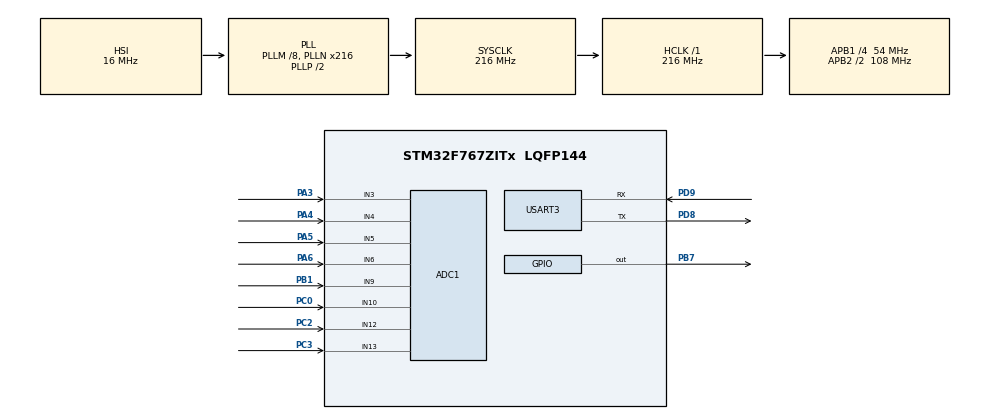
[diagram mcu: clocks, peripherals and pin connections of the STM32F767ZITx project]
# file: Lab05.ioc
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ADC1.Channel-0\#ChannelRegularConversion=ADC_CHANNEL_3
ADC1.Channel-1\#ChannelRegularConversion=ADC_CHANNEL_4
ADC1.Channel-2\#ChannelRegularConversion=ADC_CHANNEL_5
ADC1.Channel-3\#ChannelRegularConversion=ADC_CHANNEL_6
ADC1.Channel-4\#ChannelRegularConversion=ADC_CHANNEL_9
ADC1.Channel-5\#ChannelRegularConversion=ADC_CHANNEL_10
ADC1.Channel-6\#ChannelRegularConversion=ADC_CHANNEL_12
ADC1.Channel-7\#ChannelRegularConversion=ADC_CHANNEL_13
ADC1.ClockPrescaler=ADC_CLOCK_SYNC_PCLK_DIV8
ADC1.ContinuousConvMode=ENABLE
ADC1.DMAContinuousRequests=ENABLE
ADC1.DiscontinuousConvMode=DISABLE
ADC1.EOCSelection=ADC_EOC_SINGLE_CONV
ADC1.NbrOfConversion=8
ADC1.NbrOfConversionFlag=1
ADC1.Rank-0\#ChannelRegularConversion=1
ADC1.Rank-1\#ChannelRegularConversion=2
ADC1.Rank-2\#ChannelRegularConversion=3
ADC1.Rank-3\#ChannelRegularConversion=4
ADC1.Rank-4\#ChannelRegularConversion=5
ADC1.Rank-5\#ChannelRegularConversion=6
ADC1.Rank-6\#ChannelRegularConversion=7
ADC1.Rank-7\#ChannelRegularConversion=8
ADC1.SamplingTime-0\#ChannelRegularConversion=ADC_SAMPLETIME_15CYCLES
ADC1.SamplingTime-1\#ChannelRegularConversion=ADC_SAMPLETIME_15CYCLES
ADC1.SamplingTime-2\#ChannelRegularConversion=ADC_SAMPLETIME_15CYCLES
ADC1.SamplingTime-3\#ChannelRegularConversion=ADC_SAMPLETIME_15CYCLES
ADC1.SamplingTime-4\#ChannelRegularConversion=ADC_SAMPLETIME_15CYCLES
ADC1.SamplingTime-5\#ChannelRegularConversion=ADC_SAMPLETIME_15CYCLES
ADC1.SamplingTime-6\#ChannelRegularConversion=ADC_SAMPLETIME_15CYCLES
ADC1.SamplingTime-7\#ChannelRegularConversion=ADC_SAMPLETIME_15CYCLES
ADC1.ScanConvMode=ADC_SCAN_ENABLE
ADC1.master=1
Dma.ADC1.0.Direction=DMA_PERIPH_TO_MEMORY
Dma.ADC1.0.FIFOMode=DMA_FIFOMODE_DISABLE
Dma.ADC1.0.Instance=DMA2_Stream0
Dma.ADC1.0.MemDataAlignment=DMA_MDATAALIGN_WORD
Dma.ADC1.0.MemInc=DMA_MINC_ENABLE
Dma.ADC1.0.Mode=DMA_CIRCULAR
Dma.ADC1.0.PeriphDataAlignment=DMA_PDATAALIGN_WORD
Dma.ADC1.0.PeriphInc=DMA_PINC_DISABLE
Dma.ADC1.0.Priority=DMA_PRIORITY_LOW
Dma.Request0=ADC1
Mcu.Family=STM32F7
Mcu.Name=STM32F767ZITx
Mcu.Package=LQFP144
NVIC.DMA2_Stream0_IRQn=true\:1\:0\:true\:false\:true\:false\:true\:true
NVIC.PriorityGroup=NVIC_PRIORITYGROUP_4
PA3.Signal=ADCx_IN3
PA4.Signal=ADCx_IN4
PA5.Signal=ADCx_IN5
PA6.Signal=ADCx_IN6
PB1.Signal=ADCx_IN9
PB7.Signal=GPIO_Output
PC0.Signal=ADCx_IN10
PC2.Signal=ADCx_IN12
PC3.Signal=ADCx_IN13
PD8.Mode=Asynchronous
PD8.Signal=USART3_TX
PD9.Mode=Asynchronous
PD9.Signal=USART3_RX
ProjectManager.HeapSize=0x200
ProjectManager.StackSize=0x400
ProjectManager.TargetToolchain=STM32CubeIDE
RCC.AHBFreq_Value=216000000
RCC.APB1CLKDivider=RCC_HCLK_DIV4
RCC.APB1Freq_Value=54000000
RCC.APB1TimFreq_Value=108000000
RCC.APB2CLKDivider=RCC_HCLK_DIV2
RCC.APB2Freq_Value=108000000
RCC.APB2TimFreq_Value=216000000
RCC.CortexFreq_Value=216000000
RCC.HCLKFreq_Value=216000000
RCC.HSE_VALUE=25000000
RCC.HSI_VALUE=16000000
RCC.LSE_VALUE=32768
RCC.PLLM=8
RCC.PLLN=216
RCC.SYSCLKFreq_VALUE=216000000
RCC.SYSCLKSource=RCC_SYSCLKSOURCE_PLLCLK
RCC.USBFreq_Value=216000000
RCC.VCOOutputFreq_Value=432000000
SH.ADCx_IN10.0=ADC1_IN10,IN10
SH.ADCx_IN12.0=ADC1_IN12,IN12
SH.ADCx_IN13.0=ADC1_IN13,IN13
SH.ADCx_IN3.0=ADC1_IN3,IN3
SH.ADCx_IN4.0=ADC1_IN4,IN4
SH.ADCx_IN5.0=ADC1_IN5,IN5
SH.ADCx_IN6.0=ADC1_IN6,IN6
SH.ADCx_IN9.0=ADC1_IN9,IN9
USART3.VirtualMode-Asynchronous=VM_ASYNC
board=custom

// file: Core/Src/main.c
/* USER CODE BEGIN Header */
/**
  ******************************************************************************
  * @file           : main.c
  * @brief          : Main program body
  ******************************************************************************
  * @attention
  *
  * Copyright (c) 2023 STMicroelectronics.
  * All rights reserved.
  *
  * This software is licensed under terms that can be found in the LICENSE file
  * in the root directory of this software component.
  * If no LICENSE file comes with this software, it is provided AS-IS.
  *
  ******************************************************************************
  */
/* USER CODE END Header */
#include "main.h"
#include "adc.h"
#include "dma.h"
#include "usart.h"
#include "gpio.h"

/* USER CODE BEGIN PV */
volatile uint16_t num;
volatile uint32_t res_adc_dma[8];
char res[30];
char dma_res_buffer[300];
/* USER CODE END PV */

void SystemClock_Config(void);

int main(void)
{

  /* MCU Configuration--------------------------------------------------------*/

  /* Reset of all peripherals, Initializes the Flash interface and the Systick. */
  HAL_Init();

  /* Configure the system clock */
  SystemClock_Config();

  /* Initialize all configured peripherals */
  MX_GPIO_Init();
  MX_DMA_Init();
  MX_USART3_UART_Init();
  MX_ADC1_Init();

  /* Infinite loop */
  while (1)
    {

    /* USER CODE BEGIN 3 */
  	  HAL_ADC_Start_DMA(&hadc1, (uint32_t *) res_adc_dma , 8);
  	  snprintf(dma_res_buffer,300,"R1 => CH_1: %d, CH_2: %d, CH_3: %d, CH_4: %d\r\nR2 => CH_5: %d, CH_6: %d, CH_7: %d, CH_8: %d\r\n\r\n"
  			  , res_adc_dma[0], res_adc_dma[1], res_adc_dma[2], res_adc_dma[3], res_adc_dma[4], res_adc_dma[5], res_adc_dma[6], res_adc_dma[7]);
  	  while (__HAL_UART_GET_FLAG(&huart3, UART_FLAG_TC) == RESET) {}
  	  HAL_UART_Transmit(&huart3, (uint8_t*) dma_res_buffer, strlen(dma_res_buffer), 1000);
  	  HAL_Delay(500);
    }
  /* USER CODE END 3 */
}

void SystemClock_Config(void)
{
  RCC_OscInitTypeDef RCC_OscInitStruct = {0};
  RCC_ClkInitTypeDef RCC_ClkInitStruct = {0};

  /** Configure the main internal regulator output voltage
  */
  __HAL_RCC_PWR_CLK_ENABLE();
  __HAL_PWR_VOLTAGESCALING_CONFIG(PWR_REGULATOR_VOLTAGE_SCALE1);

  /** Initializes the RCC Oscillators according to the specified parameters
  * in the RCC_OscInitTypeDef structure.
  */
  RCC_OscInitStruct.OscillatorType = RCC_OSCILLATORTYPE_HSI;
  RCC_OscInitStruct.HSIState = RCC_HSI_ON;
  RCC_OscInitStruct.HSICalibrationValue = RCC_HSICALIBRATION_DEFAULT;
  RCC_OscInitStruct.PLL.PLLState = RCC_PLL_ON;
  RCC_OscInitStruct.PLL.PLLSource = RCC_PLLSOURCE_HSI;
  RCC_OscInitStruct.PLL.PLLM = 8;
  RCC_OscInitStruct.PLL.PLLN = 216;
  RCC_OscInitStruct.PLL.PLLP = RCC_PLLP_DIV2;
  RCC_OscInitStruct.PLL.PLLQ = 2;
  RCC_OscInitStruct.PLL.PLLR = 2;
  if (HAL_RCC_OscConfig(&RCC_OscInitStruct) != HAL_OK)
  {
    Error_Handler();
  }

  /** Activate the Over-Drive mode
  */
  if (HAL_PWREx_EnableOverDrive() != HAL_OK)
  {
    Error_Handler();
  }

  /** Initializes the CPU, AHB and APB buses clocks
  */
  RCC_ClkInitStruct.ClockType = RCC_CLOCKTYPE_HCLK|RCC_CLOCKTYPE_SYSCLK
                              |RCC_CLOCKTYPE_PCLK1|RCC_CLOCKTYPE_PCLK2;
  RCC_ClkInitStruct.SYSCLKSource = RCC_SYSCLKSOURCE_PLLCLK;
  RCC_ClkInitStruct.AHBCLKDivider = RCC_SYSCLK_DIV1;
  RCC_ClkInitStruct.APB1CLKDivider = RCC_HCLK_DIV4;
  RCC_ClkInitStruct.APB2CLKDivider = RCC_HCLK_DIV2;

  if (HAL_RCC_ClockConfig(&RCC_ClkInitStruct, FLASH_LATENCY_7) != HAL_OK)
  {
    Error_Handler();
  }
}

/* USER CODE BEGIN 4 */
void HAL_ADC_ConvHalfCpltCallback(ADC_HandleTypeDef* hadc1){
  HAL_GPIO_WritePin(GPIOB, GPIO_PIN_7, 1);
  HAL_Delay(100);
}
void HAL_ADC_ConvCpltCallback(ADC_HandleTypeDef* hadc1){
	HAL_GPIO_WritePin(GPIOB, GPIO_PIN_7, 0);
	HAL_Delay(100);
}
/* USER CODE END 4 */

void Error_Handler(void)
{
  __disable_irq();
  while (1)
  {
  }
}
